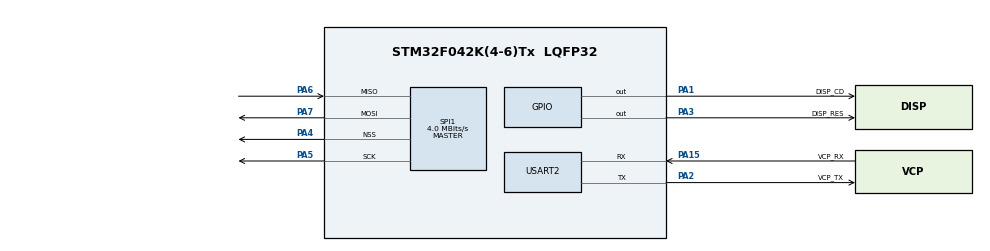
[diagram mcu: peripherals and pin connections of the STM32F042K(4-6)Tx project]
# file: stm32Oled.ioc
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Mcu.Family=STM32F0
Mcu.Name=STM32F042K(4-6)Tx
Mcu.Package=LQFP32
PA1.GPIO_Label=DISP_CD
PA1.GPIO_Speed=GPIO_SPEED_FREQ_MEDIUM
PA1.Signal=GPIO_Output
PA13.GPIO_Label=SWDIO
PA13.Mode=Serial_Wire
PA13.Signal=SYS_SWDIO
PA14.GPIO_Label=SWCLK
PA14.Mode=Serial_Wire
PA14.Signal=SYS_SWCLK
PA15.GPIO_Label=VCP_RX
PA15.Mode=Asynchronous
PA15.Signal=USART2_RX
PA2.GPIO_Label=VCP_TX
PA2.Mode=Asynchronous
PA2.Signal=USART2_TX
PA3.GPIO_Label=DISP_RES
PA3.GPIO_Speed=GPIO_SPEED_FREQ_MEDIUM
PA3.Signal=GPIO_Output
PA4.Mode=NSS_Signal_Hard_Output
PA4.Signal=SPI1_NSS
PA5.Mode=Full_Duplex_Master
PA5.Signal=SPI1_SCK
PA6.Mode=Full_Duplex_Master
PA6.Signal=SPI1_MISO
PA7.Mode=Full_Duplex_Master
PA7.Signal=SPI1_MOSI
PF0-OSC_IN.GPIO_Label=MCO
PF0-OSC_IN.Mode=HSE-External-Clock-Source
PF0-OSC_IN.Signal=RCC_OSC_IN
ProjectManager.HeapSize=0x200
ProjectManager.StackSize=0x400
ProjectManager.TargetToolchain=STM32CubeIDE
SPI1.BaudRatePrescaler=SPI_BAUDRATEPRESCALER_2
SPI1.CLKPhase=SPI_PHASE_2EDGE
SPI1.CLKPolarity=SPI_POLARITY_HIGH
SPI1.CalculateBaudRate=4.0 MBits/s
SPI1.DataSize=SPI_DATASIZE_8BIT
SPI1.Direction=SPI_DIRECTION_2LINES
SPI1.Mode=SPI_MODE_MASTER
SPI1.VirtualNSS=VM_NSSHARD
SPI1.VirtualType=VM_MASTER
USART2.VirtualMode-Asynchronous=VM_ASYNC
board=NUCLEO-F042K6

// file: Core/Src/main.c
/* USER CODE BEGIN Header */
/**
  ******************************************************************************
  * @file           : main.c
  * @brief          : Main program body
  ******************************************************************************
  * @attention
  *
  * <h2><center>&copy; Copyright (c) 2020 STMicroelectronics.
  * All rights reserved.</center></h2>
  *
  * This software component is licensed by ST under BSD 3-Clause license,
  * the "License"; You may not use this file except in compliance with the
  * License. You may obtain a copy of the License at:
  *                        opensource.org/licenses/BSD-3-Clause
  *
  ******************************************************************************
  */
/* USER CODE END Header */

#include "main.h"

SPI_HandleTypeDef hspi1;

UART_HandleTypeDef huart2;

void SystemClock_Config(void);
static void MX_GPIO_Init(void);
static void MX_USART2_UART_Init(void);
static void MX_SPI1_Init(void);
/* USER CODE BEGIN PFP */
void LEDDisp_Init(void);
void LEDDIsp_CommandWrite(uint8_t);
void LEDDisp_DataWrite(uint8_t);
/* USER CODE END PFP */

int main(void)
{
  /* USER CODE BEGIN 1 */
	int i, j;
	uint8_t R, G, B, Dot1, Dot2;
  /* USER CODE END 1 */

  /* MCU Configuration--------------------------------------------------------*/

  /* Reset of all peripherals, Initializes the Flash interface and the Systick. */
  HAL_Init();

  /* Configure the system clock */
  SystemClock_Config();

  /* Initialize all configured peripherals */
  MX_GPIO_Init();
  MX_USART2_UART_Init();
  MX_SPI1_Init();
  /* USER CODE BEGIN 2 */
  LEDDISP_Init();

  R = 7;
  G = 0;
  B = 0;
  Dot1 = (R<<5) | (G<<2)|B;

  R = 0;
  G = 0;
  B = 3;
  Dot2 = (R<<5) | (G<<2)|B;

  for(j = 0; j < 64; j++){
	  for(i=0; i<96; i++){
		  if(j<8 && i<16){
			  LEDDisp_DataWrite(Dot1);
		  } else {
			  LEDDisp_DataWrite(Dot2);
		  }
	  }
  }

  /* USER CODE END 2 */

  /* Infinite loop */
  while (1)
  {

  }
}

void SystemClock_Config(void)
{
  RCC_OscInitTypeDef RCC_OscInitStruct = {0};
  RCC_ClkInitTypeDef RCC_ClkInitStruct = {0};

  /** Initializes the CPU, AHB and APB busses clocks
  */
  RCC_OscInitStruct.OscillatorType = RCC_OSCILLATORTYPE_HSI;
  RCC_OscInitStruct.HSIState = RCC_HSI_ON;
  RCC_OscInitStruct.HSICalibrationValue = RCC_HSICALIBRATION_DEFAULT;
  RCC_OscInitStruct.PLL.PLLState = RCC_PLL_NONE;
  if (HAL_RCC_OscConfig(&RCC_OscInitStruct) != HAL_OK)
  {
    Error_Handler();
  }
  /** Initializes the CPU, AHB and APB busses clocks
  */
  RCC_ClkInitStruct.ClockType = RCC_CLOCKTYPE_HCLK|RCC_CLOCKTYPE_SYSCLK
                              |RCC_CLOCKTYPE_PCLK1;
  RCC_ClkInitStruct.SYSCLKSource = RCC_SYSCLKSOURCE_HSI;
  RCC_ClkInitStruct.AHBCLKDivider = RCC_SYSCLK_DIV1;
  RCC_ClkInitStruct.APB1CLKDivider = RCC_HCLK_DIV1;

  if (HAL_RCC_ClockConfig(&RCC_ClkInitStruct, FLASH_LATENCY_0) != HAL_OK)
  {
    Error_Handler();
  }
}

static void MX_SPI1_Init(void)
{

  /* SPI1 parameter configuration*/
  hspi1.Instance = SPI1;
  hspi1.Init.Mode = SPI_MODE_MASTER;
  hspi1.Init.Direction = SPI_DIRECTION_2LINES;
  hspi1.Init.DataSize = SPI_DATASIZE_8BIT;
  hspi1.Init.CLKPolarity = SPI_POLARITY_HIGH;
  hspi1.Init.CLKPhase = SPI_PHASE_2EDGE;
  hspi1.Init.NSS = SPI_NSS_HARD_OUTPUT;
  hspi1.Init.BaudRatePrescaler = SPI_BAUDRATEPRESCALER_2;
  hspi1.Init.FirstBit = SPI_FIRSTBIT_MSB;
  hspi1.Init.TIMode = SPI_TIMODE_DISABLE;
  hspi1.Init.CRCCalculation = SPI_CRCCALCULATION_DISABLE;
  hspi1.Init.CRCPolynomial = 7;
  hspi1.Init.CRCLength = SPI_CRC_LENGTH_DATASIZE;
  hspi1.Init.NSSPMode = SPI_NSS_PULSE_DISABLE;
  if (HAL_SPI_Init(&hspi1) != HAL_OK)
  {
    Error_Handler();
  }

}

static void MX_USART2_UART_Init(void)
{

  huart2.Instance = USART2;
  huart2.Init.BaudRate = 38400;
  huart2.Init.WordLength = UART_WORDLENGTH_8B;
  huart2.Init.StopBits = UART_STOPBITS_1;
  huart2.Init.Parity = UART_PARITY_NONE;
  huart2.Init.Mode = UART_MODE_TX_RX;
  huart2.Init.HwFlowCtl = UART_HWCONTROL_NONE;
  huart2.Init.OverSampling = UART_OVERSAMPLING_16;
  huart2.Init.OneBitSampling = UART_ONE_BIT_SAMPLE_DISABLE;
  huart2.AdvancedInit.AdvFeatureInit = UART_ADVFEATURE_NO_INIT;
  if (HAL_UART_Init(&huart2) != HAL_OK)
  {
    Error_Handler();
  }

}

static void MX_GPIO_Init(void)
{
  GPIO_InitTypeDef GPIO_InitStruct = {0};

  /* GPIO Ports Clock Enable */
  __HAL_RCC_GPIOF_CLK_ENABLE();
  __HAL_RCC_GPIOA_CLK_ENABLE();

  /*Configure GPIO pin Output Level */
  HAL_GPIO_WritePin(GPIOA, DISP_CD_Pin|DISP_RES_Pin, GPIO_PIN_RESET);

  /*Configure GPIO pins : DISP_CD_Pin DISP_RES_Pin */
  GPIO_InitStruct.Pin = DISP_CD_Pin|DISP_RES_Pin;
  GPIO_InitStruct.Mode = GPIO_MODE_OUTPUT_PP;
  GPIO_InitStruct.Pull = GPIO_NOPULL;
  GPIO_InitStruct.Speed = GPIO_SPEED_FREQ_MEDIUM;
  HAL_GPIO_Init(GPIOA, &GPIO_InitStruct);

}

/* USER CODE BEGIN 4 */
void LEDDisp_Init(void){
	HAL_GPIO_WritePin(GPIOA, DISP_RES_Pin, GPIO_PIN_RESET);
	HAL_Delay(1);
	HAL_GPIO_WritePin(GPIOA, DISP_RES_Pin, GPIO_PIN_SET);

	LEDDisp_CommandWrite(0xAE);	//DispOff
	LEDDisp_CommandWrite(0xA0);	// remap & color depth
		LEDDisp_CommandWrite(0b00110010);	// altaddress, 256col
	LEDDisp_CommandWrite(0xA1);	//set disp start line
		LEDDisp_CommandWrite(0);	//
	LEDDisp_CommandWrite(0xA2);	//disp offset
		LEDDisp_CommandWrite(0);	//
	LEDDisp_CommandWrite(0xA4);	// disp mode normal
	LEDDisp_CommandWrite(0xA8);	// multiplexRatio
		LEDDisp_CommandWrite(63);	//
	LEDDisp_CommandWrite(0xAD);	//MasterConfig
		LEDDisp_CommandWrite(0b10001110);	//
	LEDDisp_CommandWrite(0xB0);	//power save mode
		LEDDisp_CommandWrite(0x1A);	// enable power save mode
	LEDDisp_CommandWrite(0xB1);	//phase1 and 2 period
		LEDDisp_CommandWrite(0x74);	//
	LEDDisp_CommandWrite(0xB3);	//Disp clock Div
		LEDDisp_CommandWrite(0xF0);	//
	LEDDisp_CommandWrite(0x8A);	// precharge A
		LEDDisp_CommandWrite(0x81);	//
	LEDDisp_CommandWrite(0x8B);	// precharge B
		LEDDisp_CommandWrite(0x82);	//
	LEDDisp_CommandWrite(0x8C);	// precharge C
		LEDDisp_CommandWrite(0x83);	//
	LEDDisp_CommandWrite(0xBB);	// set precharge level
		LEDDisp_CommandWrite(0x3A);	//
	LEDDisp_CommandWrite(0xBE);	//Set VcomH
		LEDDisp_CommandWrite(0x3E);	//
	LEDDisp_CommandWrite(0x87);	//Set master current control
		LEDDisp_CommandWrite(0x06);	//
	LEDDisp_CommandWrite(0x15);	//Set column address
		LEDDisp_CommandWrite(0);	//
		LEDDisp_CommandWrite(95);	//
	LEDDisp_CommandWrite(0x75);	// set row address
		LEDDisp_CommandWrite(0);	//
		LEDDisp_CommandWrite(63);	//
	LEDDisp_CommandWrite(0x81);	//Set contrast for color A
		LEDDisp_CommandWrite(255);	//
	LEDDisp_CommandWrite(0x82);	//Set contrast for color B
		LEDDisp_CommandWrite(255);	//
	LEDDisp_CommandWrite(0x83);	//Set contrast for color C
		LEDDisp_CommandWrite(255);	//

	LEDDisp_CommandWrite(0xAF);	// SetDispOn
	HAL_Delay(110);
}

void LEDDisp_CommandWrite(uint8_t command){
	uint16_t datalen = 1;
	uint32_t timeout = 5;
	HAL_GPIO_WritePin(GPIOA, DISP_CD_Pin, GPIO_PIN_RESET);
	HAL_SPI_Transmit(&hspi1, &command, datalen, timeout);
}

void LEDDisp_DataWrite(uint8_t data){
	uint16_t datalen = 1;
	uint32_t timeout = 5;
	HAL_GPIO_WritePin(GPIOA, DISP_CD_Pin, GPIO_PIN_SET);
	HAL_SPI_Transmit(&hspi1, &data, datalen, timeout);
}

/* USER CODE END 4 */

void Error_Handler(void)
{
}

/************************ (C) COPYRIGHT STMicroelectronics *****END OF FILE****/
